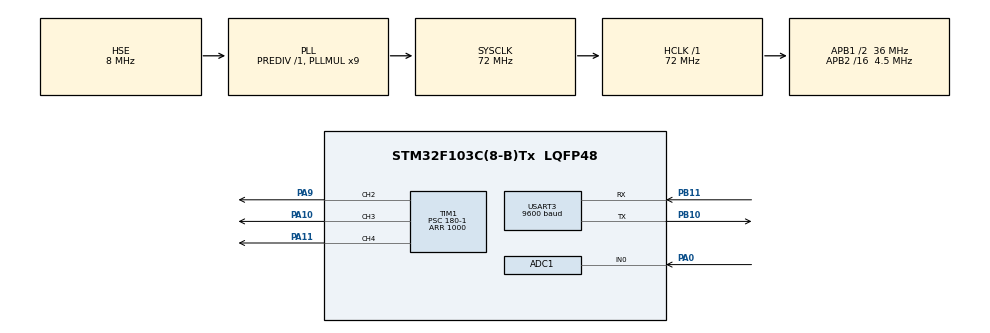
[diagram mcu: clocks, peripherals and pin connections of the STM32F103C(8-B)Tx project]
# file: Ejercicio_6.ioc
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ADC1.ContinuousConvMode=ENABLE
ADC1.NbrOfConversionFlag=1
ADC1.SamplingTime-0\#ChannelRegularConversion=ADC_SAMPLETIME_239CYCLES_5
ADC1.master=1
Mcu.Family=STM32F1
Mcu.Name=STM32F103C(8-B)Tx
Mcu.Package=LQFP48
NVIC.ADC1_2_IRQn=true\:0\:0\:false\:false\:true\:true\:true\:true
NVIC.PriorityGroup=NVIC_PRIORITYGROUP_4
NVIC.USART3_IRQn=true\:0\:0\:false\:false\:true\:true\:true\:true
PA0-WKUP.Signal=ADCx_IN0
PA10.Signal=S_TIM1_CH3
PA11.Signal=S_TIM1_CH4
PA13.Mode=Serial_Wire
PA13.Signal=SYS_JTMS-SWDIO
PA14.Mode=Serial_Wire
PA14.Signal=SYS_JTCK-SWCLK
PA9.Signal=S_TIM1_CH2
PB10.Mode=Asynchronous
PB10.Signal=USART3_TX
PB11.Mode=Asynchronous
PB11.Signal=USART3_RX
PD0-OSC_IN.Mode=HSE-External-Oscillator
PD0-OSC_IN.Signal=RCC_OSC_IN
PD1-OSC_OUT.Mode=HSE-External-Oscillator
PD1-OSC_OUT.Signal=RCC_OSC_OUT
ProjectManager.HeapSize=0x200
ProjectManager.StackSize=0x400
ProjectManager.TargetToolchain=STM32CubeIDE
RCC.ADCPresc=RCC_ADCPCLK2_DIV6
RCC.AHBFreq_Value=72000000
RCC.APB1CLKDivider=RCC_HCLK_DIV2
RCC.APB1Freq_Value=36000000
RCC.APB1TimFreq_Value=72000000
RCC.APB2CLKDivider=RCC_HCLK_DIV16
RCC.APB2Freq_Value=4500000
RCC.APB2TimFreq_Value=9000000
RCC.HCLKFreq_Value=72000000
RCC.PLLMUL=RCC_PLL_MUL9
RCC.PLLSourceVirtual=RCC_PLLSOURCE_HSE
RCC.SYSCLKFreq_VALUE=72000000
RCC.SYSCLKSource=RCC_SYSCLKSOURCE_PLLCLK
RCC.USBFreq_Value=72000000
SH.ADCx_IN0.0=ADC1_IN0,IN0
SH.S_TIM1_CH2.0=TIM1_CH2,PWM Generation2 CH2
SH.S_TIM1_CH3.0=TIM1_CH3,PWM Generation3 CH3
SH.S_TIM1_CH4.0=TIM1_CH4,PWM Generation4 CH4
TIM1.AutoReloadPreload=TIM_AUTORELOAD_PRELOAD_ENABLE
TIM1.Channel-PWM\ Generation2\ CH2=TIM_CHANNEL_2
TIM1.Channel-PWM\ Generation3\ CH3=TIM_CHANNEL_3
TIM1.Channel-PWM\ Generation4\ CH4=TIM_CHANNEL_4
TIM1.Period=1000
TIM1.Prescaler=180-1
USART3.BaudRate=9600
USART3.VirtualMode=VM_ASYNC
VP_TIM1_VS_ClockSourceINT.Mode=Internal
board=custom

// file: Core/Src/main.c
/* USER CODE BEGIN Header */
/**
  ******************************************************************************
  * @file           : main.c
  * @brief          : Main program body
  ******************************************************************************
  * @attention
  *
  * Copyright (c) 2024 STMicroelectronics.
  * All rights reserved.
  *
  * This software is licensed under terms that can be found in the LICENSE file
  * in the root directory of this software component.
  * If no LICENSE file comes with this software, it is provided AS-IS.
  *
  ******************************************************************************
  */
/* USER CODE END Header */
#include "main.h"
#include "adc.h"
#include "tim.h"
#include "usart.h"
#include "gpio.h"

/* USER CODE BEGIN Includes */
#include <stdio.h>
#include <string.h>
#include "itoa.h"
/* USER CODE END Includes */

/* USER CODE BEGIN PV */
 uint16_t valor_adc = 0;
 uint16_t valor_convercion_duty_cycle = 0;
 uint16_t duty_cycle_porcentaje =0;
/* USER CODE END PV */

void SystemClock_Config(void);

/* USER CODE BEGIN 0 */
int __io_putchar(int ch)
{
	HAL_UART_Transmit(&huart3, (uint8_t *)&ch, 1, 100);
	return ch;
}

//La función map sirve para convertir números de un rango a otro
uint16_t map( uint16_t x, uint16_t min_int, uint16_t max_int, uint16_t min_out, uint16_t max_out )
{

	uint16_t resultado;

	resultado = (x - min_int) * (max_out - min_out) / (max_int - min_int) + min_out;
    return resultado;
}

/* USER CODE END 0 */

int main(void)
{

  /* MCU Configuration--------------------------------------------------------*/

  /* Reset of all peripherals, Initializes the Flash interface and the Systick. */
  HAL_Init();

  /* Configure the system clock */
  SystemClock_Config();

  /* Initialize all configured peripherals */
  MX_GPIO_Init();
  MX_ADC1_Init();
  MX_USART3_UART_Init();
  MX_TIM1_Init();
  /* USER CODE BEGIN 2 */
  // Calibramos el adc
  HAL_ADCEx_Calibration_Start(&hadc1);
  HAL_ADC_Start_IT(&hadc1);
  //PWM init
  HAL_TIM_PWM_Start(&htim1, TIM_CHANNEL_2);
  HAL_TIM_PWM_Start(&htim1, TIM_CHANNEL_3);
  HAL_TIM_PWM_Start(&htim1, TIM_CHANNEL_4);
  /* USER CODE END 2 */

  /* Infinite loop */
  /* USER CODE BEGIN WHILE */
  while (1)
  {
	  TIM1->CCR2 = valor_convercion_duty_cycle;//ciclo de trabajo LED_1
	  TIM1->CCR3 = valor_convercion_duty_cycle;//ciclo de trabajo LED_2
	  TIM1->CCR4 = valor_convercion_duty_cycle;//ciclo de trabajo LED_3
	  printf("Duty Cycle: %d\n\r", duty_cycle_porcentaje);//imptimimos el ciclo de trabajo en los leds
    /* USER CODE END WHILE */

  }
}

void SystemClock_Config(void)
{
  RCC_OscInitTypeDef RCC_OscInitStruct = {0};
  RCC_ClkInitTypeDef RCC_ClkInitStruct = {0};
  RCC_PeriphCLKInitTypeDef PeriphClkInit = {0};

  /** Initializes the RCC Oscillators according to the specified parameters
  * in the RCC_OscInitTypeDef structure.
  */
  RCC_OscInitStruct.OscillatorType = RCC_OSCILLATORTYPE_HSE;
  RCC_OscInitStruct.HSEState = RCC_HSE_ON;
  RCC_OscInitStruct.HSEPredivValue = RCC_HSE_PREDIV_DIV1;
  RCC_OscInitStruct.HSIState = RCC_HSI_ON;
  RCC_OscInitStruct.PLL.PLLState = RCC_PLL_ON;
  RCC_OscInitStruct.PLL.PLLSource = RCC_PLLSOURCE_HSE;
  RCC_OscInitStruct.PLL.PLLMUL = RCC_PLL_MUL9;
  if (HAL_RCC_OscConfig(&RCC_OscInitStruct) != HAL_OK)
  {
    Error_Handler();
  }

  /** Initializes the CPU, AHB and APB buses clocks
  */
  RCC_ClkInitStruct.ClockType = RCC_CLOCKTYPE_HCLK|RCC_CLOCKTYPE_SYSCLK
                              |RCC_CLOCKTYPE_PCLK1|RCC_CLOCKTYPE_PCLK2;
  RCC_ClkInitStruct.SYSCLKSource = RCC_SYSCLKSOURCE_PLLCLK;
  RCC_ClkInitStruct.AHBCLKDivider = RCC_SYSCLK_DIV1;
  RCC_ClkInitStruct.APB1CLKDivider = RCC_HCLK_DIV2;
  RCC_ClkInitStruct.APB2CLKDivider = RCC_HCLK_DIV16;

  if (HAL_RCC_ClockConfig(&RCC_ClkInitStruct, FLASH_LATENCY_2) != HAL_OK)
  {
    Error_Handler();
  }
  PeriphClkInit.PeriphClockSelection = RCC_PERIPHCLK_ADC;
  PeriphClkInit.AdcClockSelection = RCC_ADCPCLK2_DIV6;
  if (HAL_RCCEx_PeriphCLKConfig(&PeriphClkInit) != HAL_OK)
  {
    Error_Handler();
  }
}

/* USER CODE BEGIN 4 */

void HAL_ADC_ConvCpltCallback(ADC_HandleTypeDef* hadc1)
{
	//obtenemos el valor del adc
	valor_adc = HAL_ADC_GetValue(hadc1);
	//convertimos el valor en ciclo de trabajo o ancho del pulso
	valor_convercion_duty_cycle = map(valor_adc, 0, 4095, 0, 1000);
	//convertimos el ciclo de trabajo en porventaje para imprimir en la terminal
	duty_cycle_porcentaje = map(valor_convercion_duty_cycle, 0, 1000, 0, 100);
}
/* USER CODE END 4 */

void Error_Handler(void)
{
  __disable_irq();
  while (1)
  {
  }
}
